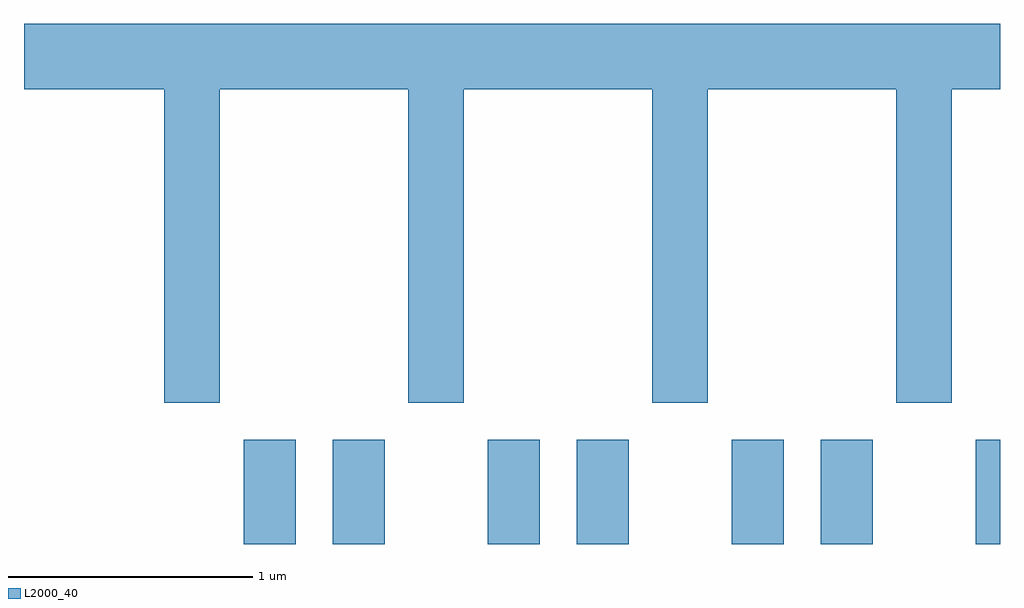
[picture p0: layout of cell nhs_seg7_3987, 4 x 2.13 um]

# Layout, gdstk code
import gdstk
lib = gdstk.Library(unit=1e-6, precision=1e-09)
def R(c, l, rs):  # rectangles x0, y0, x1, y1
    for r in rs: c.add(gdstk.rectangle(r[:2], r[2:], *l))
def P(c, l, *ps):  # polygons
    for p in ps: c.add(gdstk.Polygon(p, *l))
L2000_40 = (2000, 40)

nhs_seg7_3987 = lib.new_cell('nhs_seg7_3987')
R(nhs_seg7_3987, L2000_40, [(308.511,1690.252,308.724,1690.679), (308.876,1690.252,309.089,1690.679), (309.511,1690.252,309.724,1690.679), (309.876,1690.252,310.089,1690.679), (310.511,1690.252,310.724,1690.679), (310.876,1690.252,311.089,1690.679), (311.511,1690.252,311.611,1690.679)])
P(nhs_seg7_3987, L2000_40, [(308.414,1692.116),(309.186,1692.116),(309.186,1690.831),(309.414,1690.831),(309.414,1692.116),(310.186,1692.116),(310.186,1690.831),(310.414,1690.831),(310.414,1692.116),(311.186,1692.116),(311.186,1690.831),(311.414,1690.831),(311.414,1692.116),(311.611,1692.116),(311.611,1692.384),(307.611,1692.384),(307.611,1692.116),(308.186,1692.116),(308.186,1690.831),(308.414,1690.831)])

lib.write_gds('nhs_seg7_3987.gds')
